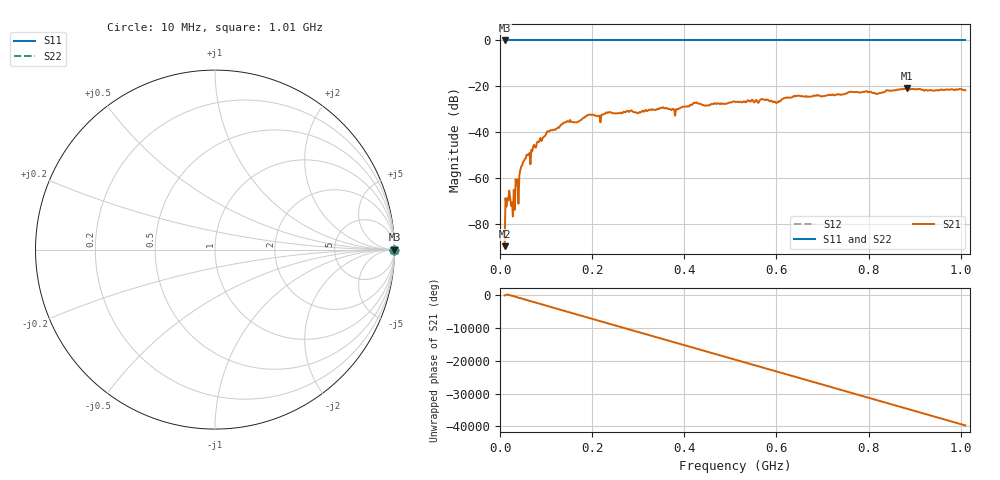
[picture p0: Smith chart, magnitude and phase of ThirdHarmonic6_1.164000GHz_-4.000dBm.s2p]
! 8/16/2025 11:42:04 AM
! C:\ANRITSUVNA\TEMP\TEMP.S2P
! CHANNEL.1
! TR.MEASUREMENT
! RAW.DATA
! RF.CORRECTION.OFF
! AVERAGING.OFF
! IF.BANDWIDTH: 5KHZ
! SWEEPTYPE:  FREQ.SWEEP(Linear)
! Reference Plane Port Info
! PORT:  PORT1  PORT2
! DISTANCE:  0  m  0  m
! TIME:  0  s  0  s
! PHASE.OFFSET:  0  deg.  0  deg.
! LOSS:  0  dB  0  dB
! REF.LOSS:  0  dB  0  dB
! REF.FREQ:  0  Hz  0  Hz
! Power Info
! POWER:  -20  dBm  -20  dBm
! EFF.POWER:  -20  dBm  -20  dBm
! SOURCE.ATTEN:  0  dB  0  dB
! TEST.ATTEN:  0  dB  0  dB
# GHZ S RI R 50.0
! FREQ.GHZ  S11RE  S11IM  S21RE  S21IM  S12RE  S12IM  S22RE  S22IM
!; PortSelection: Port_12
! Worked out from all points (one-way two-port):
!   501 points, 10 MHz to 1.01 GHz, reference 50 ohm
!   highest |S21| = -20.87 dB at 884 MHz (marker M1); lowest = -89.4 dB at 10 MHz (marker M2)
!   lowest |S11| = 0.0 dB at 10 MHz (marker M3)
!   |S11| at or under -10 dB: nowhere
!   |S22| runs from 0.0 to 0.0 dB; largest |S21 - S12| = 1.1
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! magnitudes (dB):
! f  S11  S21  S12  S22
! 10 MHz  0.0  -89.4  0.0  0.0
! 16 MHz  0.0  -68.6  0.0  0.0
! 28 MHz  0.0  -76.6  0.0  0.0
! 34 MHz  0.0  -60.3  0.0  0.0
! 36 MHz  0.0  -62.8  0.0  0.0
! 46 MHz  0.0  -54.8  0.0  0.0
! 50 MHz  0.0  -52.8  0.0  0.0
! 84 MHz  0.0  -44.3  0.0  0.0
! 142 MHz  0.0  -35.7  0.0  0.0
! 178 MHz  0.0  -34.2  0.0  0.0
! 194 MHz  0.0  -32.2  0.0  0.0
! 214 MHz  0.0  -32.9  0.0  0.0
! 234 MHz  0.0  -31.5  0.0  0.0
! 344 MHz  0.0  -29.9  0.0  0.0
! 382 MHz  0.0  -29.9  0.0  0.0
! 424 MHz  0.0  -27.1  0.0  0.0
! 510 MHz  0.0  -26.7  0.0  0.0
! 602 MHz  0.0  -26.9  0.0  0.0
! 678 MHz  0.0  -24.3  0.0  0.0
! 844 MHz  0.0  -21.9  0.0  0.0
! 884 MHz  0.0  -20.9  0.0  0.0
! 1.01 GHz  0.0  -21.7  0.0  0.0
